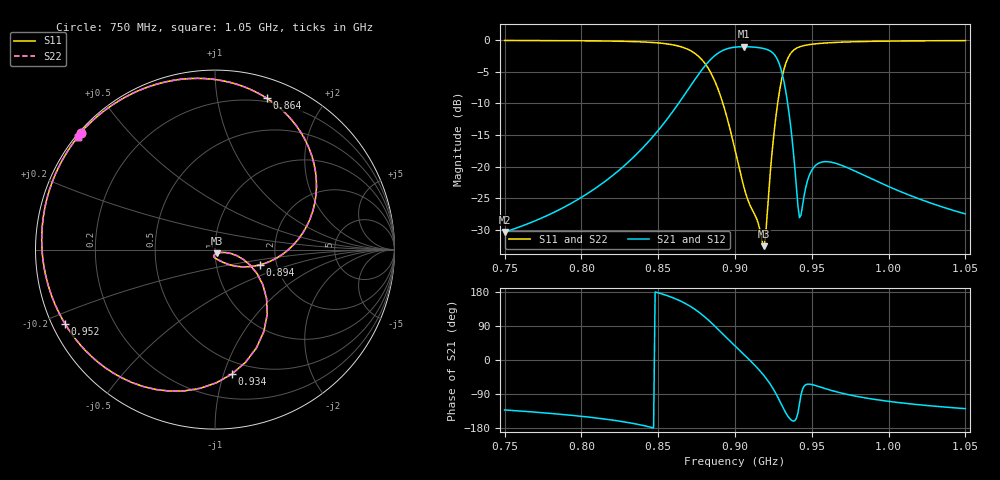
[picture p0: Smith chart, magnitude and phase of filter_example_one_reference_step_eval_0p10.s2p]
! Sonnet Data File
! From: em Version : 19.52.2025
! From Project: filter_example_one_reference_step_eval_0p10
! Data is De-embedded
! Data File Written: 04/27/2026 17:08:40
!< HDATE 04/27/2026 15:58:04
!< MDATE 04/27/2026 15:58:04
!< PARAMS
!< G_outer_open_gui = 1.1
!< G_mid_open_gui = 1.2
!< W_feed_gui = 1.1
!< P_feed_gui = 4.6
!< G_cross_gui = 1.8
!< G_adj_gui = 1.15
!< W_mid_res_gui = 23
!< W_outer_pair_gui = 12
!< END PARAMS
# GHZ S MA R 50.00000
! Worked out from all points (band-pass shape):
!   301 points, 750 MHz to 1.05 GHz, reference 50 ohm
!   highest |S21| = -1.05 dB at 906 MHz (marker M1); lowest = -30.4 dB at 750 MHz (marker M2)
!   |S21| within 3 dB of the highest: 880.6 MHz to 929.2 MHz (48.65 MHz wide, 5.38 % of centre)
!   lowest |S11| = -32.6 dB at 919 MHz (marker M3), VSWR 1.05, Z = 51.1 - j2.1 ohm
!   |S11| at or under -10 dB: 892.1 MHz to 927.8 MHz (35.68 MHz wide, 3.92 % of centre)
!   |S22| runs from -32.6 to -0.1 dB; largest |S21 - S12| = 4.2e-13
!   S11 on the Smith chart (normalised r, x): 750 MHz: 0.00, +0.37; 864 MHz: 0.17, +1.39; 894 MHz: 1.63, -0.30; 934 MHz: 0.39, -1.06; 952 MHz: 0.04, -0.23; 1.05 GHz: 0.01, +0.36
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0.75  0.9924 139.0  0.03034 -131.8  0.03034 -131.8  0.9924 139.0
0.8  0.9868 122.9  0.05707 -148.6  0.05707 -148.6  0.9871 122.9
0.828  0.9766 108.9  0.1018 -163.4  0.1018 -163.4  0.977 108.9
0.85  0.949 90.7  0.1931 177.3  0.1931 177.3  0.9494 90.7
0.864  0.8909 71.1  0.3252 156.6  0.3252 156.6  0.8912 71.0
0.88  0.6634 31.6  0.6152 114.9  0.6152 114.9  0.6637 31.6
0.888  0.4384 3.5  0.7724 84.9  0.7724 84.9  0.4386 3.5
0.894  0.2645 -18.8  0.8463 60.9  0.8463 60.9  0.2645 -18.8
0.9  0.1358 -41.2  0.8787 37.1  0.8787 37.1  0.1358 -41.2
0.906  0.0675 -66.8  0.8861 13.8  0.8861 13.8  0.0675 -66.8
0.913  0.04141 -98.1  0.8778 -14.5  0.8778 -14.5  0.04141 -98.1
0.919  0.02347 -61.0  0.8551 -41.9  0.8551 -41.9  0.02347 -61.0
0.926  0.2141 -23.8  0.7568 -84.0  0.7568 -84.0  0.2141 -23.8
0.93  0.4642 -51.2  0.5853 -115.5  0.5853 -115.5  0.4642 -51.2
0.934  0.7004 -82.4  0.3338 -145.7  0.3338 -145.7  0.7004 -82.4
0.937  0.805 -102.1  0.1724 -159.7  0.1724 -159.7  0.805 -102.1
0.942  0.8832 -125.9  0.03948 -115.2  0.03948 -115.2  0.8832 -126.0
0.95  0.9263 -149.4  0.09357 -64.8  0.09357 -64.8  0.9262 -149.4
0.952  0.9323 -153.7  0.1008 -66.9  0.1008 -66.9  0.9322 -153.7
0.973  0.9658 178.0  0.09813 -90.8  0.09813 -90.8  0.9657 178.0
1  0.9808 159.6  0.0695 -109.1  0.0695 -109.1  0.9807 159.6
1.05  0.9891 140.7  0.04219 -128.4  0.04219 -128.4  0.9891 140.7
